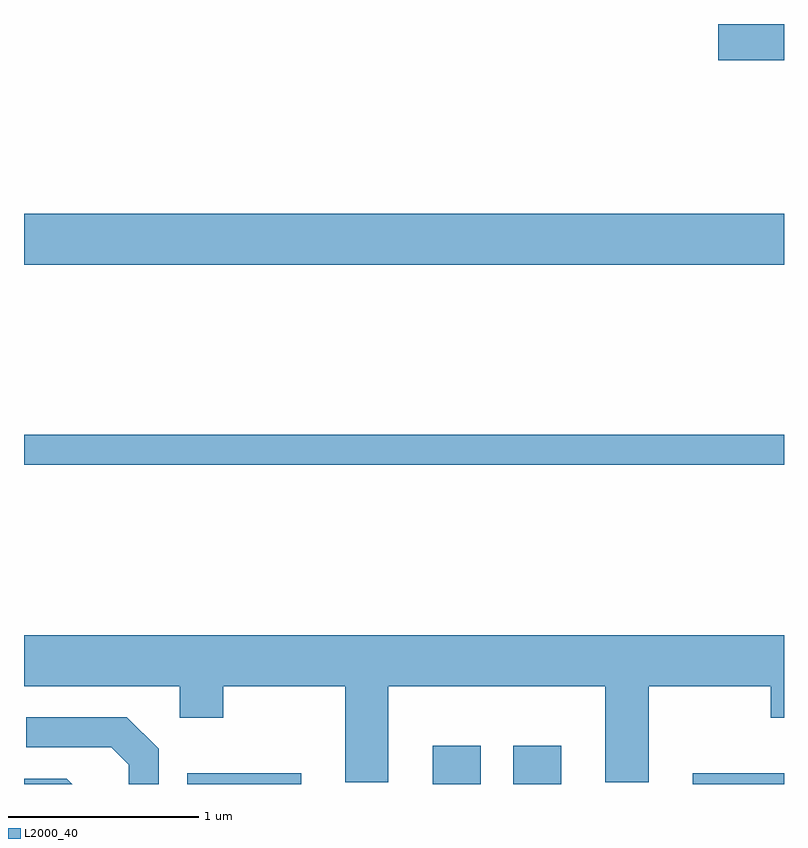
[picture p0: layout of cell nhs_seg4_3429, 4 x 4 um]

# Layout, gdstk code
import gdstk
lib = gdstk.Library(unit=1e-6, precision=1e-09)
def R(c, l, rs):  # rectangles x0, y0, x1, y1
    for r in rs: c.add(gdstk.rectangle(r[:2], r[2:], *l))
def P(c, l, *ps):  # polygons
    for p in ps: c.add(gdstk.Polygon(p, *l))
L2000_40 = (2000, 40)

nhs_seg4_3429 = lib.new_cell('nhs_seg4_3429')
R(nhs_seg4_3429, L2000_40, [(286.471,1311.982,287.069,1312.039), (287.761,1311.982,288.014,1312.184), (288.186,1311.982,288.439,1312.184), (289.131,1311.982,289.611,1312.039), (285.611,1313.661,289.611,1313.819), (285.611,1314.716,289.611,1314.984), (289.266,1315.791,289.611,1315.982)])
P(nhs_seg4_3429, L2000_40, [(287.529,1312.496),(288.671,1312.496),(288.671,1311.991),(288.899,1311.991),(288.899,1312.496),(289.541,1312.496),(289.541,1312.331),(289.611,1312.331),(289.611,1312.764),(285.611,1312.764),(285.611,1312.496),(286.431,1312.496),(286.431,1312.331),(286.659,1312.331),(286.659,1312.496),(287.301,1312.496),(287.301,1311.991),(287.529,1311.991)],
  [(286.319,1312.167),(286.152,1312.334),(285.623,1312.334),(285.623,1312.176),(286.069,1312.176),(286.161,1312.084),(286.161,1311.982),(286.319,1311.982)],
  [(285.837,1312.009),(285.611,1312.009),(285.611,1311.982),(285.864,1311.982)])

lib.write_gds('nhs_seg4_3429.gds')
